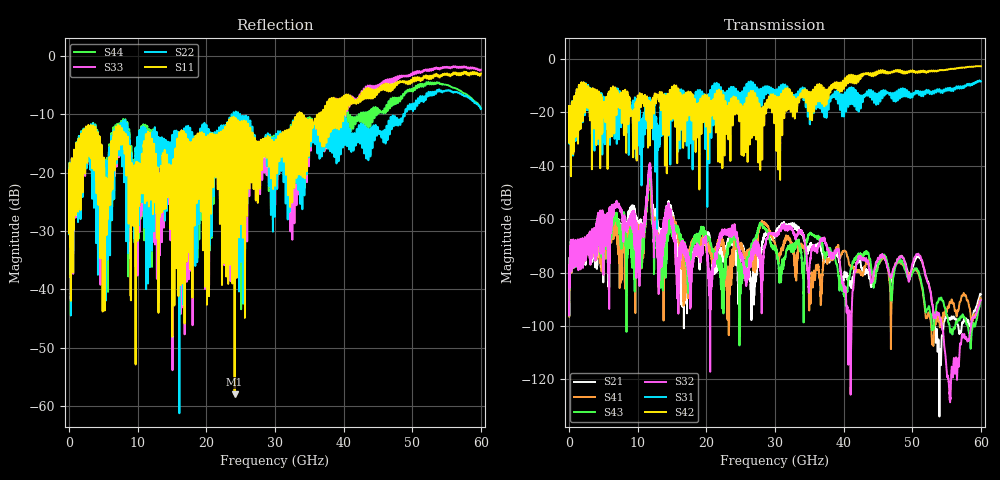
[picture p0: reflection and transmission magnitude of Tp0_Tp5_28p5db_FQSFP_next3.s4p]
!4 port subset of full cascaded channels using these ports:59 37 60 38
# Hz S RI R 50
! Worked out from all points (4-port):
!   6000 points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, 10 MHz to 60 GHz, reference 50 ohm
!   strongest paths, dB at 10 MHz, 15.01 GHz, 30.01 GHz, 45.01 GHz, 60 GHz:
!     S42: -20.0, -10.7, -13.8, -5.2, -2.7
!     S31: -20.0, -21.2, -11.8, -16.2, -8.3
!     S32: -91.1, -62.7, -66.2, -74.4, -90.3
!     S43: -91.1, -65.5, -71.7, -76.8, -90.2
!     S41: -91.3, -61.9, -69.4, -77.1, -89.8
!     S21: -91.2, -59.2, -65.5, -76.2, -88.1
!   lowest |S11| = -58.0 dB at 24.12 GHz (marker M1), VSWR 1.00, Z = 49.9 - j0.0185 ohm
!   |S11| at or under -10 dB: start of sweep to 33.26 GHz; 33.29 GHz to 33.56 GHz (263.5 MHz wide, 0.788 % of centre); 33.91 GHz to 36.4 GHz (2.496 GHz wide, 7.1 % of centre)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
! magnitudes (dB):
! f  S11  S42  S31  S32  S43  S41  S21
! 10 MHz  -22.1  -20.0  -20.0  -91.1  -91.1  -91.3  -91.2
! 6.84 GHz  -12.8  -17.3  -13.2  -54.3  -59.0  -64.7  -59.9
! 10.51 GHz  -22.6  -15.8  -32.0  -64.5  -72.3  -70.6  -63.1
! 11.68 GHz  -18.1  -18.9  -18.0  -41.2  -43.8  -45.5  -42.9
! 13.22 GHz  -23.2  -12.8  -25.6  -67.0  -73.2  -69.3  -64.6
! 24.12 GHz  -58.0  -19.9  -14.7  -61.9  -64.2  -67.7  -67.0
! 60 GHz  -3.0  -2.7  -8.3  -90.3  -90.2  -89.8  -88.1
